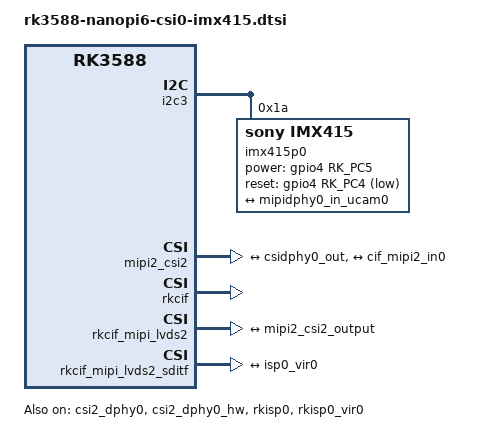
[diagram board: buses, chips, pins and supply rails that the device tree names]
// SPDX-License-Identifier: (GPL-2.0+ OR MIT)
/*
 * Copyright (c) 2022 FriendlyElec Computer Tech. Co., Ltd.
 * (http://www.friendlyelec.com)
 *
 * Copyright (c) 2022 Rockchip Electronics Co., Ltd.
 */

&csi2_dphy0 {
	status = "okay";

	ports {
		#address-cells = <1>;
		#size-cells = <0>;

		port@0 {
			reg = <0>;
			#address-cells = <1>;
			#size-cells = <0>;

			mipidphy0_in_ucam0: endpoint@1 {
				reg = <1>;
				remote-endpoint = <&imx415_out0>;
				data-lanes = <1 2 3 4>;
			};
		};

		port@1 {
			reg = <1>;
			#address-cells = <1>;
			#size-cells = <0>;

			csidphy0_out: endpoint@0 {
				reg = <0>;
				remote-endpoint = <&mipi2_csi2_input>;
			};
		};
	};
};

&csi2_dphy0_hw {
	status = "okay";
};

&i2c3 {
	status = "okay";
	pinctrl-names = "default";
	pinctrl-0 = <&i2c3m0_xfer>;

	imx415p0: imx415@1a {
		compatible = "sony,imx415";
		reg = <0x1a>;
		clocks = <&cru CLK_MIPI_CAMARAOUT_M1>;
		clock-names = "xvclk";
		power-domains = <&power RK3588_PD_VI>;
		pinctrl-names = "default";
		pinctrl-0 = <&mipim0_camera1_clk>;

		power-gpios = <&gpio4 RK_PC5 GPIO_ACTIVE_HIGH>;
		reset-gpios = <&gpio4 RK_PC4 GPIO_ACTIVE_LOW>;
		rockchip,camera-module-index = <0>;
		rockchip,camera-module-facing = "back";
		rockchip,camera-module-name = "CMK-OT2022-PX1";
		rockchip,camera-module-lens-name = "IR0147-50IRC-8M-F20";
		//lens-focus = <&cam_ircut0>;

		port {
			imx415_out0: endpoint {
				remote-endpoint = <&mipidphy0_in_ucam0>;
				data-lanes = <1 2 3 4>;
			};
		};
	};
};

&mipi2_csi2 {
	status = "okay";

	ports {
		#address-cells = <1>;
		#size-cells = <0>;

		port@0 {
			reg = <0>;
			#address-cells = <1>;
			#size-cells = <0>;

			mipi2_csi2_input: endpoint@1 {
				reg = <1>;
				remote-endpoint = <&csidphy0_out>;
			};
		};

		port@1 {
			reg = <1>;
			#address-cells = <1>;
			#size-cells = <0>;

			mipi2_csi2_output: endpoint@0 {
				reg = <0>;
				remote-endpoint = <&cif_mipi2_in0>;
			};
		};
	};
};

&rkcif {
	status = "okay";
};

&rkcif_mipi_lvds2 {
	status = "okay";

	port {
		cif_mipi2_in0: endpoint {
			remote-endpoint = <&mipi2_csi2_output>;
		};
	};
};

&rkcif_mipi_lvds2_sditf {
	status = "okay";

	port {
		mipi_lvds2_sditf: endpoint {
			remote-endpoint = <&isp0_vir0>;
		};
	};
};

&rkcif_mmu {
	status = "okay";
};

&rkisp0 {
	status = "okay";
};

&isp0_mmu {
	status = "okay";
};

&rkisp0_vir0 {
	status = "okay";

	port {
		#address-cells = <1>;
		#size-cells = <0>;

		isp0_vir0: endpoint@0 {
			reg = <0>;
			remote-endpoint = <&mipi_lvds2_sditf>;
		};
	};
};
